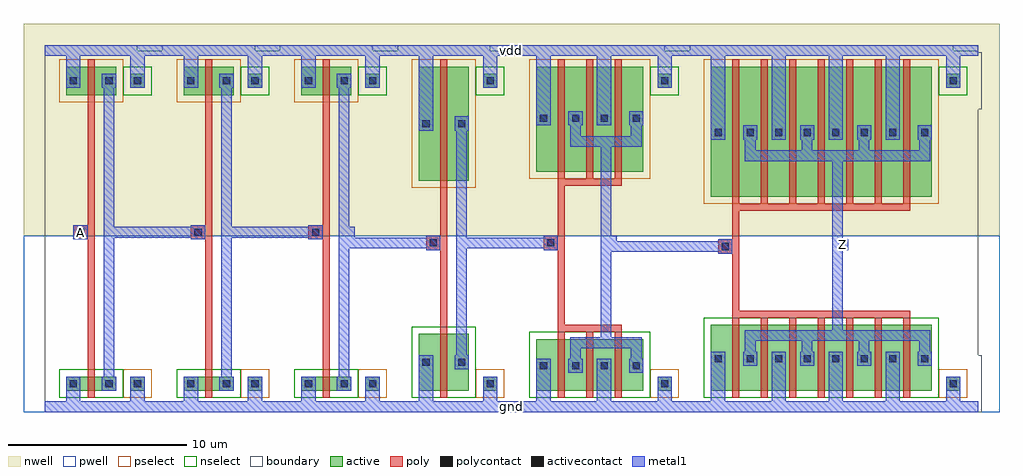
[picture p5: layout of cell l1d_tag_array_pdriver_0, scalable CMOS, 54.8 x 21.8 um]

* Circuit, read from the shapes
.subckt l1d_tag_array_pdriver_0 A Z gnd vdd
M1 l1d_tag_array_pinv_7_1/A A gnd gnd nfet w=0.8u l=0.4u
M2 l1d_tag_array_pinv_7_2/A l1d_tag_array_pinv_7_1/A gnd gnd nfet w=0.8u l=0.4u
M3 l1d_tag_array_pinv_8_3/A l1d_tag_array_pinv_7_2/A gnd gnd nfet w=0.8u l=0.4u
M4 l1d_tag_array_pinv_9_4/A l1d_tag_array_pinv_8_3/A gnd gnd nfet w=3.2u l=0.4u
M5 l1d_tag_array_pinv_10_5/A l1d_tag_array_pinv_9_4/A gnd gnd nfet w=2.9u l=0.4u m=3
M6 Z l1d_tag_array_pinv_10_5/A gnd gnd nfet w=3.7u l=0.4u m=7
M7 l1d_tag_array_pinv_7_1/A A vdd vdd pfet w=1.6u l=0.4u
M8 l1d_tag_array_pinv_7_2/A l1d_tag_array_pinv_7_1/A vdd vdd pfet w=1.6u l=0.4u
M9 l1d_tag_array_pinv_8_3/A l1d_tag_array_pinv_7_2/A vdd vdd pfet w=1.6u l=0.4u
M10 l1d_tag_array_pinv_9_4/A l1d_tag_array_pinv_8_3/A vdd vdd pfet w=6.4u l=0.4u
M11 l1d_tag_array_pinv_10_5/A l1d_tag_array_pinv_9_4/A vdd vdd pfet w=5.9u l=0.4u m=3
M12 Z l1d_tag_array_pinv_10_5/A vdd vdd pfet w=7.3u l=0.4u m=7
.ends

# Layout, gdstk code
import gdstk
lib = gdstk.Library(unit=1e-6, precision=1e-09)
def R(c, l, rs):  # rectangles x0, y0, x1, y1
    for r in rs: c.add(gdstk.rectangle(r[:2], r[2:], *l))
def A(c, l, x, y, w, h, nx, ny, dx, dy):  # array of equal rectangles
    R(c, l, [(x+i*dx, y+j*dy, x+i*dx+w, y+j*dy+h) for i in range(nx) for j in range(ny)])
pwell = (41, 0)
nwell = (42, 0)
active = (43, 0)
pselect = (44, 0)
nselect = (45, 0)
poly = (46, 0)
polycontact = (47, 0)
activecontact = (48, 0)
metal1 = (49, 0)
boundary = (63, 0)

l1d_tag_array_contact_11 = lib.new_cell('l1d_tag_array_contact_11')
R(l1d_tag_array_contact_11, nwell, [(-1.2,-1.2,2,2)])
R(l1d_tag_array_contact_11, active, [(0,0,0.8,0.8)])
R(l1d_tag_array_contact_11, pselect, [(-0.4,-0.4,1.2,1.2)])
R(l1d_tag_array_contact_11, activecontact, [(0.2,0.2,0.6,0.6)])
R(l1d_tag_array_contact_11, metal1, [(0,0,0.8,0.8)])
R(l1d_tag_array_contact_11, boundary, [(-1.2,-1.2,2,2)])

l1d_tag_array_pmos_m1_w1 = lib.new_cell('l1d_tag_array_pmos_m1_w1_600_sm1_dm1_da_p')
R(l1d_tag_array_pmos_m1_w1, nwell, [(-1.2,-1.2,4,2.8)])
R(l1d_tag_array_pmos_m1_w1, active, [(0,0,2.8,1.6)])
R(l1d_tag_array_pmos_m1_w1, pselect, [(-0.4,-0.4,3.2,2)])
R(l1d_tag_array_pmos_m1_w1, poly, [(1.2,-0.4,1.6,2), (1.2,-0.4,1.6,2)])
R(l1d_tag_array_pmos_m1_w1, metal1, [(0,0.4,0.8,1.2), (2,0.4,2.8,1.2)])
R(l1d_tag_array_pmos_m1_w1, boundary, [(-1.2,-1.2,4,2.8)])
l1d_tag_array_pmos_m1_w1.add(gdstk.Reference(l1d_tag_array_contact_11, (0,0.4)))
l1d_tag_array_pmos_m1_w1.add(gdstk.Reference(l1d_tag_array_contact_11, (2,0.4)))
l1d_tag_array_pmos_m1_w1.add(gdstk.Label('G', (1.4,0.8), layer=46, texttype=0))
l1d_tag_array_pmos_m1_w1.add(gdstk.Label('S', (0.4,0.8), layer=49, texttype=0))
l1d_tag_array_pmos_m1_w1.add(gdstk.Label('D', (2.4,0.8), layer=49, texttype=0))

l1d_tag_array_contact_10 = lib.new_cell('l1d_tag_array_contact_10')
R(l1d_tag_array_contact_10, pwell, [(-1.2,-1.2,2,2)])
R(l1d_tag_array_contact_10, active, [(0,0,0.8,0.8)])
R(l1d_tag_array_contact_10, nselect, [(-0.4,-0.4,1.2,1.2)])
R(l1d_tag_array_contact_10, activecontact, [(0.2,0.2,0.6,0.6)])
R(l1d_tag_array_contact_10, metal1, [(0,0,0.8,0.8)])
R(l1d_tag_array_contact_10, boundary, [(-1.2,-1.2,2,2)])

l1d_tag_array_nmos_m1_w0 = lib.new_cell('l1d_tag_array_nmos_m1_w0_800_sm1_dm1_da_p')
R(l1d_tag_array_nmos_m1_w0, pwell, [(-1.2,-1.2,4,2)])
R(l1d_tag_array_nmos_m1_w0, active, [(0,0,2.8,0.8)])
R(l1d_tag_array_nmos_m1_w0, nselect, [(-0.4,-0.4,3.2,1.2)])
R(l1d_tag_array_nmos_m1_w0, poly, [(1.2,-0.4,1.6,1.2), (1.2,-0.4,1.6,1.2)])
R(l1d_tag_array_nmos_m1_w0, metal1, [(0,0,0.8,0.8), (2,0,2.8,0.8)])
R(l1d_tag_array_nmos_m1_w0, boundary, [(-1.2,-1.2,4,2)])
l1d_tag_array_nmos_m1_w0.add(gdstk.Reference(l1d_tag_array_contact_10, (0,0)))
l1d_tag_array_nmos_m1_w0.add(gdstk.Reference(l1d_tag_array_contact_10, (2,0)))
l1d_tag_array_nmos_m1_w0.add(gdstk.Label('G', (1.4,0.4), layer=46, texttype=0))
l1d_tag_array_nmos_m1_w0.add(gdstk.Label('S', (0.4,0.4), layer=49, texttype=0))
l1d_tag_array_nmos_m1_w0.add(gdstk.Label('D', (2.4,0.4), layer=49, texttype=0))

l1d_tag_array_contact_12 = lib.new_cell('l1d_tag_array_contact_12')
R(l1d_tag_array_contact_12, nwell, [(-1.2,-1.2,2,2)])
R(l1d_tag_array_contact_12, active, [(0,0,0.8,0.8)])
R(l1d_tag_array_contact_12, nselect, [(-0.4,-0.4,1.2,1.2)])
R(l1d_tag_array_contact_12, activecontact, [(0.2,0.2,0.6,0.6)])
R(l1d_tag_array_contact_12, metal1, [(0,0,0.8,0.8)])
R(l1d_tag_array_contact_12, boundary, [(-1.2,-1.2,2,2)])

l1d_tag_array_contact_13 = lib.new_cell('l1d_tag_array_contact_13')
R(l1d_tag_array_contact_13, pwell, [(-1.2,-1.2,2,2)])
R(l1d_tag_array_contact_13, active, [(0,0,0.8,0.8)])
R(l1d_tag_array_contact_13, pselect, [(-0.4,-0.4,1.2,1.2)])
R(l1d_tag_array_contact_13, activecontact, [(0.2,0.2,0.6,0.6)])
R(l1d_tag_array_contact_13, metal1, [(0,0,0.8,0.8)])
R(l1d_tag_array_contact_13, boundary, [(-1.2,-1.2,2,2)])

l1d_tag_array_contact_14 = lib.new_cell('l1d_tag_array_contact_14')
R(l1d_tag_array_contact_14, poly, [(0,0,0.8,0.8)])
R(l1d_tag_array_contact_14, polycontact, [(0.2,0.2,0.6,0.6)])
R(l1d_tag_array_contact_14, metal1, [(0,0,0.8,0.8)])
R(l1d_tag_array_contact_14, boundary, [(0,0,0.8,0.8)])

l1d_tag_array_pinv_7 = lib.new_cell('l1d_tag_array_pinv_7')
R(l1d_tag_array_pinv_7, pwell, [(-1.2,-0.3,7.8,9.6)])
R(l1d_tag_array_pinv_7, nwell, [(-1.2,9.6,7.8,21.5)])
R(l1d_tag_array_pinv_7, poly, [(2.4,2.1,2.8,17.1), (2,9.4,2.4,10.2)])
R(l1d_tag_array_pinv_7, metal1, [(0,-0.3,6.6,0.3), (1.2,-0.3,2,0.9), (4.8,0,5.6,1.3), (3.3,0.9,3.9,18.7), (1.6,9.4,2.4,10.2), (3.6,9.5,4.2,10.1), (1.2,17.9,2,20.3), (4.8,18.3,5.6,20), (0,19.7,6.6,20.3)])
R(l1d_tag_array_pinv_7, boundary, [(0,0,6.6,20), (0,0,6.6,20)])
l1d_tag_array_pinv_7.add(gdstk.Reference(l1d_tag_array_pmos_m1_w1, (1.2,17.5)))
l1d_tag_array_pinv_7.add(gdstk.Reference(l1d_tag_array_nmos_m1_w0, (1.2,0.9)))
l1d_tag_array_pinv_7.add(gdstk.Reference(l1d_tag_array_contact_12, (4.8,17.9)))
l1d_tag_array_pinv_7.add(gdstk.Reference(l1d_tag_array_contact_13, (4.8,0.9)))
l1d_tag_array_pinv_7.add(gdstk.Reference(l1d_tag_array_contact_14, (1.6,9.4)))
l1d_tag_array_pinv_7.add(gdstk.Label('A', (2,9.8), layer=49, texttype=0))
l1d_tag_array_pinv_7.add(gdstk.Label('Z', (3.9,9.8), layer=49, texttype=0))
l1d_tag_array_pinv_7.add(gdstk.Label('gnd', (3.3,0), layer=49, texttype=0))
l1d_tag_array_pinv_7.add(gdstk.Label('vdd', (3.3,20), layer=49, texttype=0))

l1d_tag_array_pmos_m1_w6 = lib.new_cell('l1d_tag_array_pmos_m1_w6_400_sm1_dm1_da_p')
R(l1d_tag_array_pmos_m1_w6, nwell, [(-1.2,-1.2,4,7.6)])
R(l1d_tag_array_pmos_m1_w6, active, [(0,0,2.8,6.4)])
R(l1d_tag_array_pmos_m1_w6, pselect, [(-0.4,-0.4,3.2,6.8)])
R(l1d_tag_array_pmos_m1_w6, poly, [(1.2,-0.4,1.6,6.8), (1.2,-0.4,1.6,6.8)])
R(l1d_tag_array_pmos_m1_w6, metal1, [(0,2.8,0.8,3.6), (2,2.8,2.8,3.6)])
R(l1d_tag_array_pmos_m1_w6, boundary, [(-1.2,-1.2,4,7.6)])
l1d_tag_array_pmos_m1_w6.add(gdstk.Reference(l1d_tag_array_contact_11, (0,2.8)))
l1d_tag_array_pmos_m1_w6.add(gdstk.Reference(l1d_tag_array_contact_11, (2,2.8)))
l1d_tag_array_pmos_m1_w6.add(gdstk.Label('G', (1.4,3.2), layer=46, texttype=0))
l1d_tag_array_pmos_m1_w6.add(gdstk.Label('S', (0.4,3.2), layer=49, texttype=0))
l1d_tag_array_pmos_m1_w6.add(gdstk.Label('D', (2.4,3.2), layer=49, texttype=0))

l1d_tag_array_nmos_m1_w3 = lib.new_cell('l1d_tag_array_nmos_m1_w3_200_sm1_dm1_da_p')
R(l1d_tag_array_nmos_m1_w3, pwell, [(-1.2,-1.2,4,4.4)])
R(l1d_tag_array_nmos_m1_w3, active, [(0,0,2.8,3.2)])
R(l1d_tag_array_nmos_m1_w3, nselect, [(-0.4,-0.4,3.2,3.6)])
R(l1d_tag_array_nmos_m1_w3, poly, [(1.2,-0.4,1.6,3.6), (1.2,-0.4,1.6,3.6)])
R(l1d_tag_array_nmos_m1_w3, metal1, [(0,1.2,0.8,2), (2,1.2,2.8,2)])
R(l1d_tag_array_nmos_m1_w3, boundary, [(-1.2,-1.2,4,4.4)])
l1d_tag_array_nmos_m1_w3.add(gdstk.Reference(l1d_tag_array_contact_10, (0,1.2)))
l1d_tag_array_nmos_m1_w3.add(gdstk.Reference(l1d_tag_array_contact_10, (2,1.2)))
l1d_tag_array_nmos_m1_w3.add(gdstk.Label('G', (1.4,1.6), layer=46, texttype=0))
l1d_tag_array_nmos_m1_w3.add(gdstk.Label('S', (0.4,1.6), layer=49, texttype=0))
l1d_tag_array_nmos_m1_w3.add(gdstk.Label('D', (2.4,1.6), layer=49, texttype=0))

l1d_tag_array_pinv_8 = lib.new_cell('l1d_tag_array_pinv_8')
R(l1d_tag_array_pinv_8, pwell, [(-1.2,-0.3,7.8,9.6)])
R(l1d_tag_array_pinv_8, nwell, [(-1.2,9.6,7.8,21.5)])
R(l1d_tag_array_pinv_8, poly, [(2.4,4.5,2.8,12.3), (2,8.8,2.4,9.6)])
R(l1d_tag_array_pinv_8, metal1, [(0,-0.3,6.6,0.3), (1.2,-0.3,2,2.1), (4.8,0,5.6,1.3), (3.3,2.1,3.9,16.3), (1.6,8.8,2.4,9.6), (3.6,8.9,4.2,9.5), (1.2,15.5,2,20.3), (4.8,18.3,5.6,20), (0,19.7,6.6,20.3)])
R(l1d_tag_array_pinv_8, boundary, [(0,0,6.6,20), (0,0,6.6,20)])
l1d_tag_array_pinv_8.add(gdstk.Reference(l1d_tag_array_pmos_m1_w6, (1.2,12.7)))
l1d_tag_array_pinv_8.add(gdstk.Reference(l1d_tag_array_nmos_m1_w3, (1.2,0.9)))
l1d_tag_array_pinv_8.add(gdstk.Reference(l1d_tag_array_contact_12, (4.8,17.9)))
l1d_tag_array_pinv_8.add(gdstk.Reference(l1d_tag_array_contact_13, (4.8,0.9)))
l1d_tag_array_pinv_8.add(gdstk.Reference(l1d_tag_array_contact_14, (1.6,8.8)))
l1d_tag_array_pinv_8.add(gdstk.Label('A', (2,9.2), layer=49, texttype=0))
l1d_tag_array_pinv_8.add(gdstk.Label('Z', (3.9,9.2), layer=49, texttype=0))
l1d_tag_array_pinv_8.add(gdstk.Label('gnd', (3.3,0), layer=49, texttype=0))
l1d_tag_array_pinv_8.add(gdstk.Label('vdd', (3.3,20), layer=49, texttype=0))

l1d_tag_array_pmos_m3_w5 = lib.new_cell('l1d_tag_array_pmos_m3_w5_900_sm1_dm1_da_p')
R(l1d_tag_array_pmos_m3_w5, nwell, [(-1.2,-1.2,7.2,7.1)])
R(l1d_tag_array_pmos_m3_w5, active, [(0,0,6,5.9)])
R(l1d_tag_array_pmos_m3_w5, pselect, [(-0.4,-0.4,6.4,6.3)])
A(l1d_tag_array_pmos_m3_w5, poly, 1.2, -0.4, 0.4, 6.7, 3, 1, 1.6, 0)
R(l1d_tag_array_pmos_m3_w5, poly, [(1.2,-0.8,4.8,-0.4)])
R(l1d_tag_array_pmos_m3_w5, metal1, [(1.9,1.4,5.9,2), (1.9,1.6,2.5,3), (5.3,1.6,5.9,3), (0,2.6,0.8,3.4), (3.4,2.6,4.2,3.4)])
R(l1d_tag_array_pmos_m3_w5, boundary, [(-1.2,-1.2,7.2,7.1)])
l1d_tag_array_pmos_m3_w5.add(gdstk.Reference(l1d_tag_array_contact_11, (0,2.6)))
l1d_tag_array_pmos_m3_w5.add(gdstk.Reference(l1d_tag_array_contact_11, (1.8,2.6)))
l1d_tag_array_pmos_m3_w5.add(gdstk.Reference(l1d_tag_array_contact_11, (3.4,2.6)))
l1d_tag_array_pmos_m3_w5.add(gdstk.Reference(l1d_tag_array_contact_11, (5.2,2.6)))
l1d_tag_array_pmos_m3_w5.add(gdstk.Label('G', (3,-0.6), layer=46, texttype=0))
l1d_tag_array_pmos_m3_w5.add(gdstk.Label('S', (0.4,3), layer=49, texttype=0))
l1d_tag_array_pmos_m3_w5.add(gdstk.Label('S', (3.8,3), layer=49, texttype=0))
l1d_tag_array_pmos_m3_w5.add(gdstk.Label('D', (3.9,1.7), layer=49, texttype=0))

l1d_tag_array_nmos_m3_w2 = lib.new_cell('l1d_tag_array_nmos_m3_w2_900_sm1_dm1_da_p')
R(l1d_tag_array_nmos_m3_w2, pwell, [(-1.2,-1.2,7.2,4.1)])
R(l1d_tag_array_nmos_m3_w2, active, [(0,0,6,2.9)])
R(l1d_tag_array_nmos_m3_w2, nselect, [(-0.4,-0.4,6.4,3.3)])
A(l1d_tag_array_nmos_m3_w2, poly, 1.2, -0.4, 0.4, 3.7, 3, 1, 1.6, 0)
R(l1d_tag_array_nmos_m3_w2, poly, [(1.2,3.3,4.8,3.7)])
R(l1d_tag_array_nmos_m3_w2, metal1, [(0,1,0.8,1.8), (3.4,1,4.2,1.8), (1.9,1.4,2.5,2.8), (5.3,1.4,5.9,2.8), (1.9,2.4,5.9,3)])
R(l1d_tag_array_nmos_m3_w2, boundary, [(-1.2,-1.2,7.2,4.1)])
l1d_tag_array_nmos_m3_w2.add(gdstk.Reference(l1d_tag_array_contact_10, (0,1)))
l1d_tag_array_nmos_m3_w2.add(gdstk.Reference(l1d_tag_array_contact_10, (1.8,1)))
l1d_tag_array_nmos_m3_w2.add(gdstk.Reference(l1d_tag_array_contact_10, (3.4,1)))
l1d_tag_array_nmos_m3_w2.add(gdstk.Reference(l1d_tag_array_contact_10, (5.2,1)))
l1d_tag_array_nmos_m3_w2.add(gdstk.Label('G', (3,3.5), layer=46, texttype=0))
l1d_tag_array_nmos_m3_w2.add(gdstk.Label('S', (0.4,1.4), layer=49, texttype=0))
l1d_tag_array_nmos_m3_w2.add(gdstk.Label('S', (3.8,1.4), layer=49, texttype=0))
l1d_tag_array_nmos_m3_w2.add(gdstk.Label('D', (3.9,2.7), layer=49, texttype=0))

l1d_tag_array_pinv_9 = lib.new_cell('l1d_tag_array_pinv_9')
R(l1d_tag_array_pinv_9, pwell, [(-1.2,-0.3,11,9.6)])
R(l1d_tag_array_pinv_9, nwell, [(-1.2,9.6,11,21.5)])
R(l1d_tag_array_pinv_9, poly, [(2.4,4.6,2.8,12.4), (2,8.8,2.4,9.6)])
R(l1d_tag_array_pinv_9, metal1, [(0,-0.3,9.8,0.3), (1.2,-0.3,2,1.9), (4.6,-0.3,5.4,1.9), (8,0,8.8,1.3), (4.8,3.3,5.4,15.2), (1.6,8.8,2.4,9.6), (5.1,9,5.7,9.6), (1.2,15.8,2,20.3), (4.6,15.8,5.4,20.3), (8,18.3,8.8,20), (0,19.7,9.8,20.3)])
R(l1d_tag_array_pinv_9, boundary, [(0,0,9.8,20), (0,0,9.8,20)])
l1d_tag_array_pinv_9.add(gdstk.Reference(l1d_tag_array_pmos_m3_w5, (1.2,13.2)))
l1d_tag_array_pinv_9.add(gdstk.Reference(l1d_tag_array_nmos_m3_w2, (1.2,0.9)))
l1d_tag_array_pinv_9.add(gdstk.Reference(l1d_tag_array_contact_12, (8,17.9)))
l1d_tag_array_pinv_9.add(gdstk.Reference(l1d_tag_array_contact_13, (8,0.9)))
l1d_tag_array_pinv_9.add(gdstk.Reference(l1d_tag_array_contact_14, (1.6,8.8)))
l1d_tag_array_pinv_9.add(gdstk.Label('A', (2,9.2), layer=49, texttype=0))
l1d_tag_array_pinv_9.add(gdstk.Label('Z', (5.4,9.3), layer=49, texttype=0))
l1d_tag_array_pinv_9.add(gdstk.Label('gnd', (4.9,0), layer=49, texttype=0))
l1d_tag_array_pinv_9.add(gdstk.Label('vdd', (4.9,20), layer=49, texttype=0))

l1d_tag_array_pmos_m7_w7 = lib.new_cell('l1d_tag_array_pmos_m7_w7_300_sm1_dm1_da_p')
R(l1d_tag_array_pmos_m7_w7, nwell, [(-1.2,-1.2,13.6,8.5)])
R(l1d_tag_array_pmos_m7_w7, active, [(0,0,12.4,7.3)])
R(l1d_tag_array_pmos_m7_w7, pselect, [(-0.4,-0.4,12.8,7.7)])
A(l1d_tag_array_pmos_m7_w7, poly, 1.2, -0.4, 0.4, 8.1, 7, 1, 1.6, 0)
R(l1d_tag_array_pmos_m7_w7, poly, [(1.2,-0.8,11.2,-0.4)])
A(l1d_tag_array_pmos_m7_w7, metal1, 1.9, 2.4, 0.6, 1.2, 3, 1, 3.2, 0)
A(l1d_tag_array_pmos_m7_w7, metal1, 3.4, 3.2, 0.8, 0.8, 3, 1, 3.2, 0)
R(l1d_tag_array_pmos_m7_w7, metal1, [(1.9,2,12.3,2.6), (11.7,2.4,12.3,3.6), (0,3.2,0.8,4)])
R(l1d_tag_array_pmos_m7_w7, boundary, [(-1.2,-1.2,13.6,8.5)])
l1d_tag_array_pmos_m7_w7.add(gdstk.Reference(l1d_tag_array_contact_11, (0,3.2)))
l1d_tag_array_pmos_m7_w7.add(gdstk.Reference(l1d_tag_array_contact_11, (1.8,3.2)))
l1d_tag_array_pmos_m7_w7.add(gdstk.Reference(l1d_tag_array_contact_11, (3.4,3.2)))
l1d_tag_array_pmos_m7_w7.add(gdstk.Reference(l1d_tag_array_contact_11, (5,3.2)))
l1d_tag_array_pmos_m7_w7.add(gdstk.Reference(l1d_tag_array_contact_11, (6.6,3.2)))
l1d_tag_array_pmos_m7_w7.add(gdstk.Reference(l1d_tag_array_contact_11, (8.2,3.2)))
l1d_tag_array_pmos_m7_w7.add(gdstk.Reference(l1d_tag_array_contact_11, (9.8,3.2)))
l1d_tag_array_pmos_m7_w7.add(gdstk.Reference(l1d_tag_array_contact_11, (11.6,3.2)))
l1d_tag_array_pmos_m7_w7.add(gdstk.Label('G', (6.2,-0.6), layer=46, texttype=0))
l1d_tag_array_pmos_m7_w7.add(gdstk.Label('S', (10.2,3.6), layer=49, texttype=0))
l1d_tag_array_pmos_m7_w7.add(gdstk.Label('S', (3.8,3.6), layer=49, texttype=0))
l1d_tag_array_pmos_m7_w7.add(gdstk.Label('S', (0.4,3.6), layer=49, texttype=0))
l1d_tag_array_pmos_m7_w7.add(gdstk.Label('S', (7,3.6), layer=49, texttype=0))
l1d_tag_array_pmos_m7_w7.add(gdstk.Label('D', (7.1,2.3), layer=49, texttype=0))

l1d_tag_array_nmos_m7_w3 = lib.new_cell('l1d_tag_array_nmos_m7_w3_700_sm1_dm1_da_p')
R(l1d_tag_array_nmos_m7_w3, pwell, [(-1.2,-1.2,13.6,4.9)])
R(l1d_tag_array_nmos_m7_w3, active, [(0,0,12.4,3.7)])
R(l1d_tag_array_nmos_m7_w3, nselect, [(-0.4,-0.4,12.8,4.1)])
A(l1d_tag_array_nmos_m7_w3, poly, 1.2, -0.4, 0.4, 4.5, 7, 1, 1.6, 0)
R(l1d_tag_array_nmos_m7_w3, poly, [(1.2,4.1,11.2,4.5)])
A(l1d_tag_array_nmos_m7_w3, metal1, 3.4, 1.4, 0.8, 0.8, 3, 1, 3.2, 0)
A(l1d_tag_array_nmos_m7_w3, metal1, 1.9, 1.8, 0.6, 1.4, 3, 1, 3.2, 0)
R(l1d_tag_array_nmos_m7_w3, metal1, [(0,1.4,0.8,2.2), (11.7,1.8,12.3,3.2), (1.9,2.8,12.3,3.4)])
R(l1d_tag_array_nmos_m7_w3, boundary, [(-1.2,-1.2,13.6,4.9)])
l1d_tag_array_nmos_m7_w3.add(gdstk.Reference(l1d_tag_array_contact_10, (0,1.4)))
l1d_tag_array_nmos_m7_w3.add(gdstk.Reference(l1d_tag_array_contact_10, (1.8,1.4)))
l1d_tag_array_nmos_m7_w3.add(gdstk.Reference(l1d_tag_array_contact_10, (3.4,1.4)))
l1d_tag_array_nmos_m7_w3.add(gdstk.Reference(l1d_tag_array_contact_10, (5,1.4)))
l1d_tag_array_nmos_m7_w3.add(gdstk.Reference(l1d_tag_array_contact_10, (6.6,1.4)))
l1d_tag_array_nmos_m7_w3.add(gdstk.Reference(l1d_tag_array_contact_10, (8.2,1.4)))
l1d_tag_array_nmos_m7_w3.add(gdstk.Reference(l1d_tag_array_contact_10, (9.8,1.4)))
l1d_tag_array_nmos_m7_w3.add(gdstk.Reference(l1d_tag_array_contact_10, (11.6,1.4)))
l1d_tag_array_nmos_m7_w3.add(gdstk.Label('G', (6.2,4.3), layer=46, texttype=0))
l1d_tag_array_nmos_m7_w3.add(gdstk.Label('S', (10.2,1.8), layer=49, texttype=0))
l1d_tag_array_nmos_m7_w3.add(gdstk.Label('S', (3.8,1.8), layer=49, texttype=0))
l1d_tag_array_nmos_m7_w3.add(gdstk.Label('S', (7,1.8), layer=49, texttype=0))
l1d_tag_array_nmos_m7_w3.add(gdstk.Label('S', (0.4,1.8), layer=49, texttype=0))
l1d_tag_array_nmos_m7_w3.add(gdstk.Label('D', (7.1,3.1), layer=49, texttype=0))

l1d_tag_array_pinv_10 = lib.new_cell('l1d_tag_array_pinv_10')
R(l1d_tag_array_pinv_10, pwell, [(-1.2,-0.3,17.4,9.6)])
R(l1d_tag_array_pinv_10, nwell, [(-1.2,9.6,17.4,21.5)])
R(l1d_tag_array_pinv_10, poly, [(2.4,5.4,2.8,11), (2,8.6,2.4,9.4)])
A(l1d_tag_array_pinv_10, metal1, 4.6, -0.3, 0.8, 2.6, 3, 1, 3.2, 0)
A(l1d_tag_array_pinv_10, metal1, 4.6, 15, 0.8, 5.3, 3, 1, 3.2, 0)
R(l1d_tag_array_pinv_10, metal1, [(0,-0.3,16.2,0.3), (1.2,-0.3,2,2.3), (14.4,0,15.2,1.3), (8,3.7,8.6,14.4), (1.6,8.6,2.4,9.4), (8.3,8.8,8.9,9.4), (1.2,15,2,20.3), (14.4,18.3,15.2,20), (0,19.7,16.2,20.3)])
R(l1d_tag_array_pinv_10, boundary, [(0,0,16.2,20), (0,0,16.2,20)])
l1d_tag_array_pinv_10.add(gdstk.Reference(l1d_tag_array_pmos_m7_w7, (1.2,11.8)))
l1d_tag_array_pinv_10.add(gdstk.Reference(l1d_tag_array_nmos_m7_w3, (1.2,0.9)))
l1d_tag_array_pinv_10.add(gdstk.Reference(l1d_tag_array_contact_12, (14.4,17.9)))
l1d_tag_array_pinv_10.add(gdstk.Reference(l1d_tag_array_contact_13, (14.4,0.9)))
l1d_tag_array_pinv_10.add(gdstk.Reference(l1d_tag_array_contact_14, (1.6,8.6)))
l1d_tag_array_pinv_10.add(gdstk.Label('A', (2,9), layer=49, texttype=0))
l1d_tag_array_pinv_10.add(gdstk.Label('Z', (8.6,9.1), layer=49, texttype=0))
l1d_tag_array_pinv_10.add(gdstk.Label('gnd', (8.1,0), layer=49, texttype=0))
l1d_tag_array_pinv_10.add(gdstk.Label('vdd', (8.1,20), layer=49, texttype=0))

l1d_tag_array_pdriver_0 = lib.new_cell('l1d_tag_array_pdriver_0')
R(l1d_tag_array_pdriver_0, pwell, [(-1.2,-0.3,53.6,9.6)])
R(l1d_tag_array_pdriver_0, nwell, [(-1.2,9.6,53.6,21.5)])
R(l1d_tag_array_pdriver_0, metal1, [(0,-0.3,52.4,0.3), (31.5,8.7,32.1,9.3), (31.8,8.7,38.2,9.3), (44.5,8.8,45.1,9.4), (16.8,8.9,17.4,9.5), (17.1,8.9,21.8,9.5), (23.7,8.9,28.4,9.5), (31.5,9,32.1,9.3), (16.8,9.2,17.4,9.8), (1.6,9.4,2.4,10.2), (3.9,9.5,8.6,10.1), (10.5,9.5,15.2,10.1), (0,19.7,52.4,20.3)])
R(l1d_tag_array_pdriver_0, boundary, [(0,0,52.4,20), (0,0,52.4,20)])
l1d_tag_array_pdriver_0.add(gdstk.Reference(l1d_tag_array_pinv_7, (0,0)))
l1d_tag_array_pdriver_0.add(gdstk.Reference(l1d_tag_array_pinv_7, (6.6,0)))
l1d_tag_array_pdriver_0.add(gdstk.Reference(l1d_tag_array_pinv_7, (13.2,0)))
l1d_tag_array_pdriver_0.add(gdstk.Reference(l1d_tag_array_pinv_8, (19.8,0)))
l1d_tag_array_pdriver_0.add(gdstk.Reference(l1d_tag_array_pinv_9, (26.4,0)))
l1d_tag_array_pdriver_0.add(gdstk.Reference(l1d_tag_array_pinv_10, (36.2,0)))
l1d_tag_array_pdriver_0.add(gdstk.Label('Z', (44.8,9.1), layer=49, texttype=0))
l1d_tag_array_pdriver_0.add(gdstk.Label('A', (2,9.8), layer=49, texttype=0))
l1d_tag_array_pdriver_0.add(gdstk.Label('gnd', (26.2,0), layer=49, texttype=0))
l1d_tag_array_pdriver_0.add(gdstk.Label('vdd', (26.2,20), layer=49, texttype=0))

lib.write_gds('l1d_tag_array_pdriver_0.gds')
